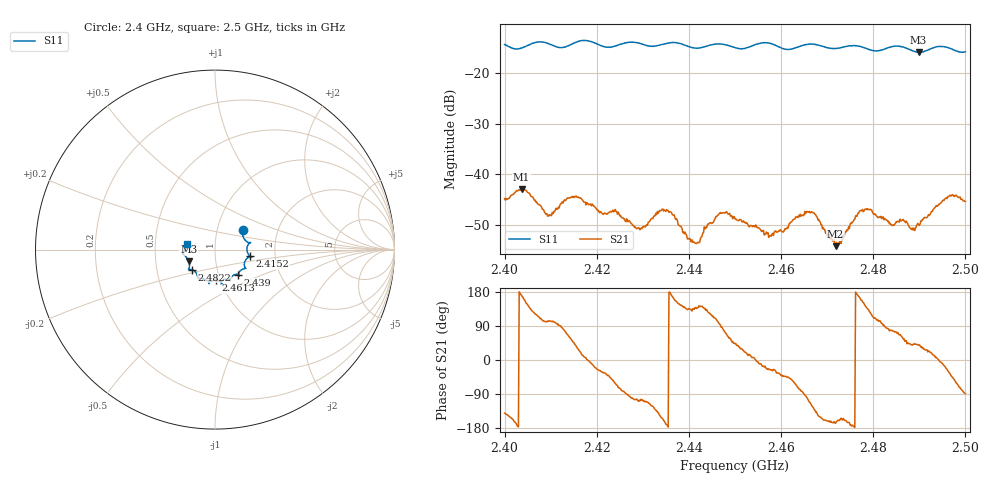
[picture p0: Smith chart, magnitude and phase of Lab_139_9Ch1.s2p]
# Hz S RI R 50
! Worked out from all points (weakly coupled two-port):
!   601 points, 2.4 GHz to 2.5 GHz, reference 50 ohm
!   highest |S21| = -43.00 dB at 2.4037 GHz (marker M1); lowest = -54.2 dB at 2.4718 GHz (marker M2)
!   lowest |S11| = -15.9 dB at 2.4898 GHz (marker M3), VSWR 1.38, Z = 37 - j5.01 ohm
!   |S11| at or under -10 dB: start of sweep to end of sweep
!   S12 and S22 are empty: the file has one direction only
!   S11 on the Smith chart (normalised r, x): 2.4 GHz: 1.33, +0.31; 2.4152 GHz: 1.48, -0.11; 2.439 GHz: 1.24, -0.36; 2.4613 GHz: 0.96, -0.34; 2.4822 GHz: 0.76, -0.17; 2.5 GHz: 0.73, +0.05
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2.4e9  0.1554 0.1113  -0.00441 -0.00366  0 0  0 0
2.403667e9  0.168 0.0531  -0.00698 0.00117  0 0  0 0
2.409667e9  0.1905 0.0346  -0.00086 0.00388  0 0  0 0
2.415167e9  0.1948 -0.0367  0.00431 0.00399  0 0  0 0
2.416667e9  0.2042 -0.0422  0.00549 0.00157  0 0  0 0
2.429e9  0.1672 -0.1055  -0.000951 -0.0028  0 0  0 0
2.433333e9  0.1323 -0.132  -0.00312 -0.00266  0 0  0 0
2.436333e9  0.1352 -0.1469  -0.00396 0.000808  0 0  0 0
2.439e9  0.1284 -0.1389  -0.00198 0.00165  0 0  0 0
2.441833e9  0.1004 -0.1442  -0.00157 0.00142  0 0  0 0
2.446333e9  0.0856 -0.1738  -0.000719 0.00387  0 0  0 0
2.45e9  0.0691 -0.1638  0.00263 0.00247  0 0  0 0
2.457833e9  0.039 -0.1911  0.00217 -0.0011  0 0  0 0
2.461333e9  0.00731 -0.1706  0.00207 -0.00214  0 0  0 0
2.466667e9  -0.0333 -0.19  -0.00219 -0.00364  0 0  0 0
2.471833e9  -0.0637 -0.1622  -0.00189 -0.000432  0 0  0 0
2.477167e9  -0.0955 -0.1556  -0.00413 0.00136  0 0  0 0
2.482167e9  -0.1283 -0.112  -9.24e-05 0.00378  0 0  0 0
2.483333e9  -0.1396 -0.1104  0.0005 0.00339  0 0  0 0
2.489833e9  -0.1457 -0.066  0.00247 0.002  0 0  0 0
2.496667e9  -0.1745 -0.0142  0.00499 -0.00368  0 0  0 0
2.5e9  -0.1583 0.0334  0.000115 -0.00536  0 0  0 0
